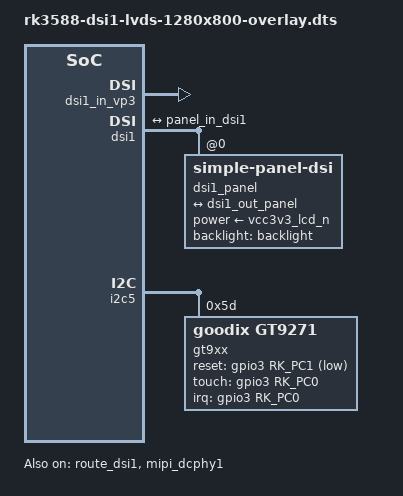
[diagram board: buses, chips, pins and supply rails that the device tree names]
/dts-v1/;
/plugin/;

#include <dt-bindings/gpio/gpio.h>
#include <dt-bindings/pinctrl/rockchip.h>
#include <dt-bindings/display/drm_mipi_dsi.h>
#include <dt-bindings/interrupt-controller/irq.h>

/ {
    fragment@0 {
        target = <&route_dsi1>;

        __overlay__ {
            status = "okay";
            connect = <&vp3_out_dsi1>;
        };
    };

    fragment@1 {
        target = <&dsi1_in_vp3>;

        __overlay__ {
            status = "okay";
        };
    };

    fragment@2 {
        target = <&mipi_dcphy1>;

        __overlay__ {
            status = "okay";
        };
    };

    fragment@3 {
        target = <&dsi1>;

        __overlay__ {
            status = "okay";

            dsi1_panel: panel@0 {
                status = "okay";
                compatible = "simple-panel-dsi";
                reg = <0>;
                power-supply = <&vcc3v3_lcd_n>;
                backlight = <&backlight>;
                reset-delay-ms = <10>;
                enable-delay-ms = <35>;
                prepare-delay-ms = <6>;
                unprepare-delay-ms = <0>;
                disable-delay-ms = <20>;
                dsi,flags = <(MIPI_DSI_MODE_VIDEO | MIPI_DSI_MODE_VIDEO_BURST | MIPI_DSI_MODE_LPM | MIPI_DSI_MODE_EOT_PACKET)>;
                dsi,format = <MIPI_DSI_FMT_RGB888>;
                dsi,lanes  = <4>;
                dsi,channel = <0>;
                size,width = <235>;
                size,height = <143>;

                panel-init-sequence = [
                                        29 02 06 3C 01 09 00 07 00                      
                                        29 02 06 14 01 06 00 00 00                      
                                        29 02 06 64 01 0B 00 00 00                      
                                        29 02 06 68 01 0B 00 00 00                      
                                        29 02 06 6C 01 0B 00 00 00                      
                                        29 02 06 70 01 0B 00 00 00                      
                                        29 02 06 34 01 1F 00 00 00                      
                                        29 02 06 10 02 1F 00 00 00                      
                                        29 02 06 04 01 01 00 00 00                      
                                        29 02 06 04 02 01 00 00 00                      

                                        29 02 06 50 04 20 01 F0 03

                                        29 02 06 54 04 10 01 28 00
                                        29 02 06 58 04 00 05 54 00
                                        29 02 06 5C 04 0F 00 14 00
                                        29 02 06 60 04 20 03 14 00
                                        29 02 06 64 04 01 00 00 00                      
                                        29 02 06 A0 04 06 80 44 00
                                        29 02 06 A0 04 06 80 04 00
                                        29 02 06 04 05 04 00 00 00 

                                        29 02 06 80 04 00 01 02 03     /* four channel */
                                        29 02 06 84 04 04 07 05 08
                                        29 02 06 88 04 09 0A 0E 0F
                                        29 02 06 8C 04 0B 0C 0D 10
                                        29 02 06 90 04 16 17 11 12
                                        29 02 06 94 04 13 14 15 1B
                                        29 02 06 98 04 18 19 1A 06

                                        29 02 06 9C 04 31 04 00 00
                ];

                panel-exit-sequence = [
                        05 05 01 28
                        05 78 01 10
                ];

                disp_timings1: display-timings {
                    native-mode = <&dsi1_timing0>;
                    dsi1_timing0: timing0 {
                        clock-frequency = <90000000>;
                        hactive = <1280>;
                        vactive = <800>;
                        hback-porch = <320>;
                        hfront-porch = <1270>;
                        vback-porch = <15>;
                        vfront-porch = <20>;
                        hsync-len = <10>;
                        vsync-len = <20>;
                        hsync-active = <0>;
                        vsync-active = <0>;
                        de-active = <0>;
                        pixelclk-active = <0>;
                    };
                };

                ports {
                    #address-cells = <1>;
                    #size-cells = <0>;

                    port@0 {
                        reg = <0>;
                        panel_in_dsi1: endpoint {
                            remote-endpoint = <&dsi1_out_panel>;
                        };
                    };
                };
            };

            ports {
                #address-cells = <1>;
                #size-cells = <0>;

                port@1 {
                    reg = <1>;
                    dsi1_out_panel: endpoint {
                        remote-endpoint = <&panel_in_dsi1>;
                    };
                };
            };
        };
    };

    fragment@4 {
        target = <&i2c5>;

        __overlay__ {
            status = "okay";
            pinctrl-0 = <&i2c5m0_xfer>;

            gt9xx@5d {
                compatible = "goodix,gt9271";
                reg = <0x5d>;
                interrupt-parent = <&gpio3>;
                interrupts = <RK_PC0 IRQ_TYPE_LEVEL_LOW>;
                reset-gpio = <&gpio3 RK_PC1 GPIO_ACTIVE_LOW>;
                touch-gpio = <&gpio3 RK_PC0 IRQ_TYPE_EDGE_RISING>;
                status = "okay";
                tp-size = <9271>;
                max-x = <1280>;
                max-y = <800>;
                touchscreen-inverted-x;
            };
        };
    };
};
